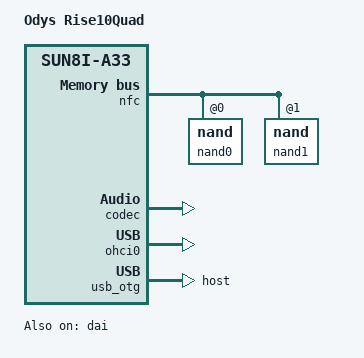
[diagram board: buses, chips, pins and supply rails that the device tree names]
/*
 * Copyright 2015 Hans de Goede <hdegoede@redhat.com>
 *
 * This file is dual-licensed: you can use it either under the terms
 * of the GPL or the X11 license, at your option. Note that this dual
 * licensing only applies to this file, and not this project as a
 * whole.
 *
 *  a) This file is free software; you can redistribute it and/or
 *     modify it under the terms of the GNU General Public License as
 *     published by the Free Software Foundation; either version 2 of the
 *     License, or (at your option) any later version.
 *
 *     This file is distributed in the hope that it will be useful,
 *     but WITHOUT ANY WARRANTY; without even the implied warranty of
 *     MERCHANTABILITY or FITNESS FOR A PARTICULAR PURPOSE.  See the
 *     GNU General Public License for more details.
 *
 * Or, alternatively,
 *
 *  b) Permission is hereby granted, free of charge, to any person
 *     obtaining a copy of this software and associated documentation
 *     files (the "Software"), to deal in the Software without
 *     restriction, including without limitation the rights to use,
 *     copy, modify, merge, publish, distribute, sublicense, and/or
 *     sell copies of the Software, and to permit persons to whom the
 *     Software is furnished to do so, subject to the following
 *     conditions:
 *
 *     The above copyright notice and this permission notice shall be
 *     included in all copies or substantial portions of the Software.
 *
 *     THE SOFTWARE IS PROVIDED "AS IS", WITHOUT WARRANTY OF ANY KIND,
 *     EXPRESS OR IMPLIED, INCLUDING BUT NOT LIMITED TO THE WARRANTIES
 *     OF MERCHANTABILITY, FITNESS FOR A PARTICULAR PURPOSE AND
 *     NONINFRINGEMENT. IN NO EVENT SHALL THE AUTHORS OR COPYRIGHT
 *     HOLDERS BE LIABLE FOR ANY CLAIM, DAMAGES OR OTHER LIABILITY,
 *     WHETHER IN AN ACTION OF CONTRACT, TORT OR OTHERWISE, ARISING
 *     FROM, OUT OF OR IN CONNECTION WITH THE SOFTWARE OR THE USE OR
 *     OTHER DEALINGS IN THE SOFTWARE.
 */

/dts-v1/;
#include "sun8i-a33.dtsi"
#include "sun8i-q8-common.dtsi"

/ {
	model = "Odys Rise10Quad";
	compatible = "allwinner,q8-a33", "allwinner,sun8i-a33";
	
	aliases {
	/*	serial0 = &uart0; */
		ethernet0 = &sdio_wifi;
	};
};

&tcon0_out {
	tcon0_out_lcd: endpoint@0 {
		reg = <0>;
		remote-endpoint = <&panel_input>;
	};
};

&nfc {
	status = "okay";
	
	pinctrl-0 = <&nand_pins &nand_cs0_pin &nand_rb0_pin &nand_cs1_pin &nand_rb1_pin>;

	/*2*8Gb SKHynix H27UCG8T2BTR-BC*/
	nand0: nand@0 {
		reg = <0>;
		allwinner,rb = <0>;
		nand-ecc-mode = "hw";
		nand-ecc-strength = <40>;
		nand-ecc-step-size = <1024>;
		nand-on-flash-bbt;
	};
	
	nand1: nand@1 {
		reg = <1>;
		allwinner,rb = <1>;
		nand-ecc-mode = "hw";
		nand-ecc-strength = <40>;
		nand-ecc-step-size = <1024>;
		nand-on-flash-bbt;
	};
	
	/* Concatenated MTD dev for 2 chips 
    flash {
            compatible = "mtd-concat";
            devices = <&nand0 &nand1>;

            partitions {
                    compatible = "fixed-partitions";
                    #address-cells = <2>;
                    #size-cells = <2>;
                    
                    partition@0,0 {
                            label = "bootloader";
                            reg = <0x0 0x0000000 0x0400000>;
                    };
                    partition@0,400000 {
                            label = "nanddisk";
                            reg = <0x0 0x0400000 0x3f 0xfc00000>;
                    };
            };
    };*/
};


&codec {
	status = "okay";
};

&dai {
	status = "okay";
};

&sound {
	status = "okay";
};

&wifi_pwrseq {
	reset-gpios = <&r_pio 0 6 GPIO_ACTIVE_LOW>; 
/*	clocks = <&rtc 1>;*/
/*	clock-names = "ext_clock";*/
};



/*
*&cpu0_opp_table {
*        opp-1104000000 {
*                opp-hz = /bits/ 64 <1104000000>;
*                opp-microvolt = <1320000>;
*                clock-latency-ns = <244144>;
*        };
*
*        opp-1200000000 {
*                opp-hz = /bits/ 64 <1200000000>;
*                opp-microvolt = <1320000>;
*                clock-latency-ns = <244144>;
*        };
*
*        
*        opp-1300000000 {
*                opp-hz = /bits/ 64 <1300000000>;
*                opp-microvolt = <1320000>;
*                clock-latency-ns = <244144>;
*        };
*
*        opp-1400000000 {
*                opp-hz = /bits/ 64 <1400000000>;
*                opp-microvolt = <1400000>;
*                clock-latency-ns = <244144>;
*        };
*        
*        opp-1490000000 {
*                opp-hz = /bits/ 64 <1480000000>;
*                opp-microvolt = <1520000>;
*                clock-latency-ns = <244144>;
*        };
*
*};
*/

&ohci0 {
    status  = "okay";
};

&usb_otg {
	dr_mode = "host";
};

/*
*&reg_dcdc3 {
*	regulator-min-microvolt = <1520000>;
*	regulator-max-microvolt = <1520000>;
*};
*
*&reg_dcdc2 {
*	regulator-max-microvolt = <1520000>;
*};
*
*&reg_dcdc5 {
*	regulator-min-microvolt = <1500000>;
*	regulator-max-microvolt = <1500000>;
*};
*/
